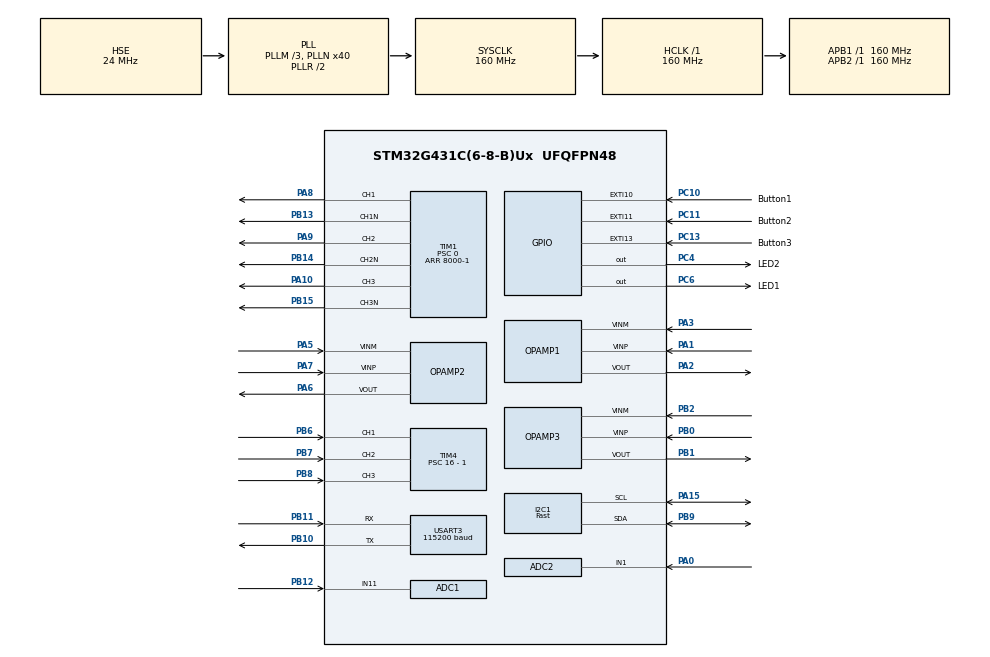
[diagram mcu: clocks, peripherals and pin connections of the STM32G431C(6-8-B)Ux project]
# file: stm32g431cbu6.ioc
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ADC1.Channel-1\#ChannelRegularConversion=ADC_CHANNEL_11
ADC1.ClockPrescaler=ADC_CLOCK_ASYNC_DIV4
ADC1.EnableInjectedConversion=ENABLE
ADC1.ExternalTrigInjecConv=ADC_EXTERNALTRIGINJEC_T1_CC4
ADC1.InjNumberOfConversion=2
ADC1.InjectedChannel-2\#ChannelInjectedConversion=ADC_CHANNEL_3
ADC1.InjectedChannel-3\#ChannelInjectedConversion=ADC_CHANNEL_12
ADC1.InjectedOffsetNumber-2\#ChannelInjectedConversion=ADC_OFFSET_NONE
ADC1.InjectedOffsetNumber-3\#ChannelInjectedConversion=ADC_OFFSET_NONE
ADC1.InjectedRank-2\#ChannelInjectedConversion=1
ADC1.InjectedRank-3\#ChannelInjectedConversion=2
ADC1.InjectedSamplingTime-2\#ChannelInjectedConversion=ADC_SAMPLETIME_6CYCLES_5
ADC1.InjectedSamplingTime-3\#ChannelInjectedConversion=ADC_SAMPLETIME_6CYCLES_5
ADC1.NbrOfConversion=1
ADC1.NbrOfConversionFlag=1
ADC1.OffsetNumber-1\#ChannelRegularConversion=ADC_OFFSET_NONE
ADC1.Rank-1\#ChannelRegularConversion=1
ADC1.SamplingTime-1\#ChannelRegularConversion=ADC_SAMPLETIME_2CYCLES_5
ADC1.master=1
ADC2.Channel-0\#ChannelRegularConversion=ADC_CHANNEL_1
ADC2.ClockPrescaler=ADC_CLOCK_ASYNC_DIV4
ADC2.EnableInjectedConversion=ENABLE
ADC2.ExternalTrigInjecConv=ADC_EXTERNALTRIGINJEC_T1_CC4
ADC2.InjNumberOfConversion=1
ADC2.InjectedChannel-1\#ChannelInjectedConversion=ADC_CHANNEL_3
ADC2.InjectedOffsetNumber-1\#ChannelInjectedConversion=ADC_OFFSET_NONE
ADC2.InjectedRank-1\#ChannelInjectedConversion=1
ADC2.InjectedSamplingTime-1\#ChannelInjectedConversion=ADC_SAMPLETIME_6CYCLES_5
ADC2.NbrOfConversionFlag=1
ADC2.OffsetNumber-0\#ChannelRegularConversion=ADC_OFFSET_NONE
ADC2.Rank-0\#ChannelRegularConversion=1
ADC2.SamplingTime-0\#ChannelRegularConversion=ADC_SAMPLETIME_2CYCLES_5
Dma.Request0=USART3_TX
Dma.USART3_TX.0.Direction=DMA_MEMORY_TO_PERIPH
Dma.USART3_TX.0.EventEnable=DISABLE
Dma.USART3_TX.0.Instance=DMA1_Channel1
Dma.USART3_TX.0.MemDataAlignment=DMA_MDATAALIGN_BYTE
Dma.USART3_TX.0.MemInc=DMA_MINC_ENABLE
Dma.USART3_TX.0.Mode=DMA_NORMAL
Dma.USART3_TX.0.PeriphDataAlignment=DMA_PDATAALIGN_BYTE
Dma.USART3_TX.0.PeriphInc=DMA_PINC_DISABLE
Dma.USART3_TX.0.Polarity=HAL_DMAMUX_REQ_GEN_RISING
Dma.USART3_TX.0.Priority=DMA_PRIORITY_LOW
Dma.USART3_TX.0.RequestNumber=1
Dma.USART3_TX.0.SignalID=NONE
Dma.USART3_TX.0.SyncEnable=DISABLE
Dma.USART3_TX.0.SyncPolarity=HAL_DMAMUX_SYNC_NO_EVENT
Dma.USART3_TX.0.SyncRequestNumber=1
Dma.USART3_TX.0.SyncSignalID=NONE
FREERTOS.Tasks01=defaultTask,24,128,StartDefaultTask,Default,NULL,Dynamic,NULL,NULL
FREERTOS.configENABLE_FPU=1
I2C1.I2C_Speed_Mode=I2C_Fast
I2C1.Timing=0x00F07BFF
Mcu.Family=STM32G4
Mcu.Name=STM32G431C(6-8-B)Ux
Mcu.Package=UFQFPN48
NVIC.ADC1_2_IRQn=true\:5\:0\:false\:false\:true\:true\:true\:true\:true
NVIC.DMA1_Channel1_IRQn=true\:5\:0\:false\:false\:true\:true\:false\:true\:true
NVIC.EXTI15_10_IRQn=true\:3\:0\:true\:false\:true\:true\:true\:true\:true
NVIC.PriorityGroup=NVIC_PRIORITYGROUP_4
NVIC.TIM1_BRK_TIM15_IRQn=true\:1\:0\:true\:false\:true\:true\:true\:true\:true
NVIC.TIM1_UP_TIM16_IRQn=true\:1\:0\:true\:false\:true\:true\:true\:true\:true
NVIC.TIM4_IRQn=true\:1\:0\:true\:false\:true\:true\:true\:true\:true
NVIC.TIM6_DAC_IRQn=true\:5\:0\:false\:false\:true\:true\:true\:true\:true
NVIC.USART3_IRQn=true\:2\:0\:true\:false\:true\:true\:true\:true\:true
PA0.Mode=IN1-Single-Ended
PA0.Signal=ADC2_IN1
PA1.Mode=Standalone
PA1.Signal=OPAMP1_VINP
PA10.Signal=S_TIM1_CH3
PA13.Mode=Serial_Wire
PA13.Signal=SYS_JTMS-SWDIO
PA14.Mode=Serial_Wire
PA14.Signal=SYS_JTCK-SWCLK
PA15.Mode=I2C
PA15.Signal=I2C1_SCL
PA2.Signal=SharedAnalog_PA2
PA3.Mode=Standalone
PA3.Signal=OPAMP1_VINM
PA5.Mode=Standalone
PA5.Signal=OPAMP2_VINM
PA6.Signal=SharedAnalog_PA6
PA7.Mode=Standalone
PA7.Signal=OPAMP2_VINP
PA8.Signal=S_TIM1_CH1
PA9.Signal=S_TIM1_CH2
PB0.Mode=Standalone
PB0.Signal=OPAMP3_VINP
PB1.Signal=SharedAnalog_PB1
PB10.Mode=Asynchronous
PB10.Signal=USART3_TX
PB11.Mode=Asynchronous
PB11.Signal=USART3_RX
PB12.Mode=IN11-Single-Ended
PB12.Signal=ADC1_IN11
PB13.Mode=PWM Generation1 CH1 CH1N
PB13.Signal=TIM1_CH1N
PB14.Mode=PWM Generation2 CH2 CH2N
PB14.Signal=TIM1_CH2N
PB15.Mode=PWM Generation3 CH3 CH3N
PB15.Signal=TIM1_CH3N
PB2.Mode=Standalone
PB2.Signal=OPAMP3_VINM
PB6.Signal=S_TIM4_CH1
PB7.Signal=S_TIM4_CH2
PB8-BOOT0.Signal=S_TIM4_CH3
PB9.Mode=I2C
PB9.Signal=I2C1_SDA
PC10.GPIO_Label=Button1
PC10.Signal=GPXTI10
PC11.GPIO_Label=Button2
PC11.Signal=GPXTI11
PC13.GPIO_Label=Button3
PC13.Signal=GPXTI13
PC4.GPIO_Label=LED2
PC4.Signal=GPIO_Output
PC6.GPIO_Label=LED1
PC6.Signal=GPIO_Output
PF0-OSC_IN.Mode=HSE-External-Oscillator
PF0-OSC_IN.Signal=RCC_OSC_IN
PF1-OSC_OUT.Mode=HSE-External-Oscillator
PF1-OSC_OUT.Signal=RCC_OSC_OUT
ProjectManager.HeapSize=0x200
ProjectManager.StackSize=0x400
ProjectManager.TargetToolchain=MDK-ARM V5.32
RCC.ADC12Freq_Value=160000000
RCC.AHBFreq_Value=160000000
RCC.APB1Freq_Value=160000000
RCC.APB1TimFreq_Value=160000000
RCC.APB2Freq_Value=160000000
RCC.APB2TimFreq_Value=160000000
RCC.CortexFreq_Value=160000000
RCC.EXTERNAL_CLOCK_VALUE=12288000
RCC.HCLKFreq_Value=160000000
RCC.HSE_VALUE=24000000
RCC.HSI48_VALUE=48000000
RCC.HSI_VALUE=16000000
RCC.LSE_VALUE=32768
RCC.PLLM=RCC_PLLM_DIV3
RCC.PLLN=40
RCC.PLLSourceVirtual=RCC_PLLSOURCE_HSE
RCC.SYSCLKFreq_VALUE=160000000
RCC.SYSCLKSource=RCC_SYSCLKSOURCE_PLLCLK
RCC.USBFreq_Value=160000000
RCC.VCOOutputFreq_Value=320000000
SH.S_TIM1_CH1.0=TIM1_CH1,PWM Generation1 CH1 CH1N
SH.S_TIM1_CH2.0=TIM1_CH2,PWM Generation2 CH2 CH2N
SH.S_TIM1_CH3.0=TIM1_CH3,PWM Generation3 CH3 CH3N
SH.S_TIM4_CH1.0=TIM4_CH1,Xored_Inputs_Hall_Sensor_Interface
SH.S_TIM4_CH2.0=TIM4_CH2,Xored_Inputs_Hall_Sensor_Interface
SH.S_TIM4_CH3.0=TIM4_CH3,Xored_Inputs_Hall_Sensor_Interface
SH.SharedAnalog_PA2.0=OPAMP1_VOUT,Standalone
SH.SharedAnalog_PA2.1=ADC1_IN3,IN3-Single-Ended
SH.SharedAnalog_PA6.0=OPAMP2_VOUT,Standalone
SH.SharedAnalog_PA6.1=ADC2_IN3,IN3-Single-Ended
SH.SharedAnalog_PB1.0=COMP1_INP
SH.SharedAnalog_PB1.1=OPAMP3_VOUT,Standalone
SH.SharedAnalog_PB1.2=ADC1_IN12,IN12-Single-Ended
STMicroelectronics.X-CUBE-ALGOBUILD.1.3.0.LibraryCcDSPOoLibraryJjDSPOoLibrary=true
TIM1.BreakFilter=2
TIM1.BreakState=TIM_BREAK_ENABLE
TIM1.Channel-PWM\ Generation1\ CH1\ CH1N=TIM_CHANNEL_1
TIM1.Channel-PWM\ Generation2\ CH2\ CH2N=TIM_CHANNEL_2
TIM1.Channel-PWM\ Generation3\ CH3\ CH3N=TIM_CHANNEL_3
TIM1.Channel-PWM\ Generation4\ No\ Output=TIM_CHANNEL_4
TIM1.ClockDivision=TIM_CLOCKDIVISION_DIV2
TIM1.CounterMode=TIM_COUNTERMODE_CENTERALIGNED1
TIM1.DeadTime=120
TIM1.DeadTimePreload=ENABLE
TIM1.OCMode_PWM-PWM\ Generation4\ No\ Output=TIM_OCMODE_PWM2
TIM1.PeriodNoDither=8000-1
TIM1.Prescaler=0
TIM1.PulseNoDither_4=8000-2
TIM1.RepetitionCounter=1
TIM1.SourceBRKCOMP1=TIM_BREAKINPUTSOURCE_DISABLE
TIM1.TIM_MasterOutputTrigger=TIM_TRGO_OC4REF
TIM4.Commutation_Delay=5
TIM4.IC1Filter=5
TIM4.Prescaler=16 - 1
TIM6.AutoReloadPreload=TIM_AUTORELOAD_PRELOAD_ENABLE
TIM6.PeriodNoDither=200
TIM6.Prescaler=160
USART3.BaudRate=115200
USART3.VirtualMode-Asynchronous=VM_ASYNC
VP_FREERTOS_VS_CMSIS_V2.Mode=CMSIS_V2
VP_STMicroelectronics.X-CUBE-ALGOBUILD_VS_DSPOoLibraryJjLibrary_1.3.0_1.3.0.Mode=DSPOoLibraryJjLibrary
VP_SYS_VS_DBSignals.Mode=DisableDeadBatterySignals
VP_TIM1_VS_ClockSourceINT.Mode=Internal
VP_TIM1_VS_no_output4.Mode=PWM Generation4 No Output
VP_TIM6_VS_ClockSourceINT.Mode=Enable_Timer
board=custom

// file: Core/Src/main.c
/* USER CODE BEGIN Header */
/**
 ******************************************************************************
 * @file           : main.c
 * @brief          : Main program body
 ******************************************************************************
 * @attention
 *
 * Copyright (c) 2023 STMicroelectronics.
 * All rights reserved.
 *
 * This software is licensed under terms that can be found in the LICENSE file
 * in the root directory of this software component.
 * If no LICENSE file comes with this software, it is provided AS-IS.
 *
 ******************************************************************************
 */
/* USER CODE END Header */
#include "main.h"
#include "cmsis_os.h"
#include "adc.h"
#include "dma.h"
#include "i2c.h"
#include "opamp.h"
#include "tim.h"
#include "usart.h"
#include "gpio.h"

/* USER CODE BEGIN Includes */
#include <stdio.h>
#include <string.h>
#include "foc.h"
#include "bldcMotor.h"
#include "userMain.h"
/* USER CODE END Includes */

/* USER CODE BEGIN PTD */

#define PHASE_SHIFT_ANGLE (float)(220.0f / 360.0f * 2.0f * _PI)
/* USER CODE END PTD */

/* USER CODE BEGIN PD */
extern DMA_HandleTypeDef hdma_usart3_tx;

uint8_t Uart1_Rx_Cnt = 0;
float Vbus, Ia, Ib, Ic;
uint16_t IA_Offset, IB_Offset, IC_Offset;
uint16_t adc1_in1, adc1_in2, adc1_in3, Vpoten, adc_vbus;
uint8_t ADC_offset = 0;
float alpha = 0.3;

/* USER CODE END PD */

void SystemClock_Config(void);
void MX_FREERTOS_Init(void);

int main(void)
{

  /* MCU Configuration--------------------------------------------------------*/

  /* Reset of all peripherals, Initializes the Flash interface and the Systick. */
  HAL_Init();

  /* Configure the system clock */
  SystemClock_Config();

  /* Initialize all configured peripherals */
  MX_GPIO_Init();
  MX_DMA_Init();
  MX_USART3_UART_Init();
  MX_ADC1_Init();
  MX_ADC2_Init();
  MX_OPAMP1_Init();
  MX_OPAMP2_Init();
  MX_OPAMP3_Init();
  MX_TIM1_Init();
  MX_TIM4_Init();
  MX_I2C1_Init();
  MX_TIM6_Init();
  /* USER CODE BEGIN 2 */
  HAL_OPAMP_Start(&hopamp1);
  HAL_OPAMP_Start(&hopamp2);
  HAL_OPAMP_Start(&hopamp3);
  // HAL_UART_Receive_IT(&huart3, rxBuffer, RX_CMD_LEN);
  HAL_UART_Receive_IT(&huart3, (uint8_t *)&aRxBuffer, 1);
  HAL_ADCEx_Calibration_Start(&hadc1, ADC_SINGLE_ENDED);
  HAL_ADCEx_Calibration_Start(&hadc2, ADC_SINGLE_ENDED);
  __HAL_ADC_CLEAR_FLAG(&hadc1, ADC_FLAG_JEOC);
  __HAL_ADC_CLEAR_FLAG(&hadc1, ADC_FLAG_EOC);
  __HAL_ADC_CLEAR_FLAG(&hadc2, ADC_FLAG_JEOC);
  // HAL_ADCEx_InjectedStart_IT(&hadc1);
  // HAL_ADCEx_InjectedStart(&hadc2);
  HAL_TIM_Base_Start(&htim1);
  HAL_TIM_PWM_Start(&htim1, TIM_CHANNEL_4);
  HAL_TIM_PWM_Start(&htim1, TIM_CHANNEL_1);
  HAL_TIM_PWM_Start(&htim1, TIM_CHANNEL_2);
  HAL_TIM_PWM_Start(&htim1, TIM_CHANNEL_3);
  HAL_TIMEx_PWMN_Start(&htim1, TIM_CHANNEL_1);
  HAL_TIMEx_PWMN_Start(&htim1, TIM_CHANNEL_2);
  HAL_TIMEx_PWMN_Start(&htim1, TIM_CHANNEL_3);

  /* USER CODE END 2 */

  /* Init scheduler */
  osKernelInitialize();  /* Call init function for freertos objects (in freertos.c) */
  MX_FREERTOS_Init();

  /* Start scheduler */
  osKernelStart();

  /* We should never get here as control is now taken by the scheduler */
  /* Infinite loop */
  while (1)
  {

  }
}

void SystemClock_Config(void)
{
  RCC_OscInitTypeDef RCC_OscInitStruct = {0};
  RCC_ClkInitTypeDef RCC_ClkInitStruct = {0};

  /** Configure the main internal regulator output voltage
  */
  HAL_PWREx_ControlVoltageScaling(PWR_REGULATOR_VOLTAGE_SCALE1_BOOST);

  /** Initializes the RCC Oscillators according to the specified parameters
  * in the RCC_OscInitTypeDef structure.
  */
  RCC_OscInitStruct.OscillatorType = RCC_OSCILLATORTYPE_HSE;
  RCC_OscInitStruct.HSEState = RCC_HSE_ON;
  RCC_OscInitStruct.PLL.PLLState = RCC_PLL_ON;
  RCC_OscInitStruct.PLL.PLLSource = RCC_PLLSOURCE_HSE;
  RCC_OscInitStruct.PLL.PLLM = RCC_PLLM_DIV3;
  RCC_OscInitStruct.PLL.PLLN = 40;
  RCC_OscInitStruct.PLL.PLLP = RCC_PLLP_DIV2;
  RCC_OscInitStruct.PLL.PLLQ = RCC_PLLQ_DIV2;
  RCC_OscInitStruct.PLL.PLLR = RCC_PLLR_DIV2;
  if (HAL_RCC_OscConfig(&RCC_OscInitStruct) != HAL_OK)
  {
    Error_Handler();
  }

  /** Initializes the CPU, AHB and APB buses clocks
  */
  RCC_ClkInitStruct.ClockType = RCC_CLOCKTYPE_HCLK|RCC_CLOCKTYPE_SYSCLK
                              |RCC_CLOCKTYPE_PCLK1|RCC_CLOCKTYPE_PCLK2;
  RCC_ClkInitStruct.SYSCLKSource = RCC_SYSCLKSOURCE_PLLCLK;
  RCC_ClkInitStruct.AHBCLKDivider = RCC_SYSCLK_DIV1;
  RCC_ClkInitStruct.APB1CLKDivider = RCC_HCLK_DIV1;
  RCC_ClkInitStruct.APB2CLKDivider = RCC_HCLK_DIV1;

  if (HAL_RCC_ClockConfig(&RCC_ClkInitStruct, FLASH_LATENCY_4) != HAL_OK)
  {
    Error_Handler();
  }
}

/* USER CODE BEGIN 4 */
/******************************************************************************/

/******************************************************************************/

void HAL_GPIO_EXTI_Callback(uint16_t GPIO_Pin)
{
  /* Prevent unused argument(s) compilation warning */
  UNUSED(GPIO_Pin);
  if (Button2_Pin == GPIO_Pin)
  {
    HAL_TIM_PWM_Start(&htim1, TIM_CHANNEL_1);
    HAL_TIM_PWM_Start(&htim1, TIM_CHANNEL_2);
    HAL_TIM_PWM_Start(&htim1, TIM_CHANNEL_3);
    HAL_TIMEx_PWMN_Start(&htim1, TIM_CHANNEL_1);
    HAL_TIMEx_PWMN_Start(&htim1, TIM_CHANNEL_2);
    HAL_TIMEx_PWMN_Start(&htim1, TIM_CHANNEL_3);
  }
  if (Button3_Pin == GPIO_Pin)
  {
    HAL_TIM_PWM_Stop(&htim1, TIM_CHANNEL_1);
    HAL_TIM_PWM_Stop(&htim1, TIM_CHANNEL_2);
    HAL_TIM_PWM_Stop(&htim1, TIM_CHANNEL_3);
    HAL_TIMEx_PWMN_Stop(&htim1, TIM_CHANNEL_1);
    HAL_TIMEx_PWMN_Stop(&htim1, TIM_CHANNEL_2);
    HAL_TIMEx_PWMN_Stop(&htim1, TIM_CHANNEL_3);
  }
  /* NOTE: This function should not be modified, when the callback is needed,
           the HAL_GPIO_EXTI_Callback could be implemented in the user file
   */
}
// MotorMode motorMode;
void HAL_ADCEx_InjectedConvCpltCallback(ADC_HandleTypeDef *hadc) // 10kHz ADC
{
  static uint8_t cnt;
  static uint16_t obsever_cnt;
  /* Prevent unused argument(s) compilation warning */
  UNUSED(hadc);
  if (hadc == &hadc1)
  {
    if (ADC_offset == 0)
    {
      cnt++;
      adc1_in1 = hadc1.Instance->JDR1;
      adc1_in2 = hadc2.Instance->JDR1;
      adc1_in3 = hadc1.Instance->JDR2;
      IA_Offset += adc1_in1;
      IB_Offset += adc1_in2;
      IC_Offset += adc1_in3;
      if (cnt >= 10)
      {
        ADC_offset = 1;
        IA_Offset = IA_Offset / 10;
        IB_Offset = IB_Offset / 10;
        IC_Offset = IC_Offset / 10;
      }
      // motorMode = OPEN_LOOP;
    }
    else
    {
      adc1_in1 = hadc1.Instance->JDR1;
      adc1_in3 = hadc1.Instance->JDR2;
      adc1_in2 = hadc2.Instance->JDR1;
      Ia = (adc1_in1 - IA_Offset) * 0.02197f;
      Ib = (adc1_in2 - IB_Offset) * 0.02197f;
      Ic = (adc1_in3 - IC_Offset) * 0.02197f; // 0.02197265625

      // openSpeedLoop(3, 60);
      // closeAngleLoop(target);

#if SHOW_RCC_DATA
      temp[0] = Ia;
      temp[1] = Ib;
      memcpy(tempData, (uint8_t *)&temp, sizeof(temp));
      HAL_UART_Transmit_DMA(&huart3, (uint8_t *)tempData, 6 * 4);
#endif
    }
  }
}
// void HAL_UART_RxCpltCallback(UART_HandleTypeDef *huart)
// {
//   /* Prevent unused argument(s) compilation warning */
//   UNUSED(huart);
//   if (Uart1_Rx_Cnt >= USART_BUFFER_SIZE - 1)
//   {
//     Uart1_Rx_Cnt = 0;
//     memset(rxBuffer, 0x00, sizeof(rxBuffer));
//     HAL_UART_Transmit(&huart3, (uint8_t *)"too long\n", 10, 0xFFFF);
//   }
//   else
//   {
//     rxBuffer[Uart1_Rx_Cnt++] = aRxBuffer;
//     if (aRxBuffer == '\n')
//     {
//       Uart1_Rx_Cnt = 0;
//       setUartRecvDone();
//     }
//     //		Uart1_Rx_Cnt = 0;
//     //		memset(rxBuffer,0x00,sizeof(rxBuffer));
//   }
//   HAL_UART_Receive_IT(&huart3, (uint8_t *)&aRxBuffer, 1);
//   /* NOTE: This function should not be modified, when the callback is needed,
//            the HAL_UART_TxHalfCpltCallback can be implemented in the user file.
//    */
// }

int fputc(int ch, FILE *f)
{
  while ((USART3->ISR & 0X40) == 0)
    ;
  USART3->TDR = (uint8_t)ch;
  return ch;
}
float t;
/* USER CODE END 4 */

void Error_Handler(void)
{
  __disable_irq();
  while (1)
  {
  }
}

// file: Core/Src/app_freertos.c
/* USER CODE BEGIN Header */
/**
 ******************************************************************************
 * File Name          : app_freertos.c
 * Description        : Code for freertos applications
 ******************************************************************************
 * @attention
 *
 * Copyright (c) 2024 STMicroelectronics.
 * All rights reserved.
 *
 * This software is licensed under terms that can be found in the LICENSE file
 * in the root directory of this software component.
 * If no LICENSE file comes with this software, it is provided AS-IS.
 *
 ******************************************************************************
 */
/* USER CODE END Header */

#include "FreeRTOS.h"
#include "task.h"
#include "main.h"
#include "cmsis_os.h"

/* USER CODE BEGIN Includes */
#include "userMain.h"
/* USER CODE END Includes */

/* USER CODE BEGIN PTD */
// osThreadId_t ctrlLoopTaskHandle;
/* USER CODE END PTD */

/* Definitions for defaultTask */
osThreadId_t defaultTaskHandle;
const osThreadAttr_t defaultTask_attributes = {
    .name = "defaultTask",
    .priority = (osPriority_t)osPriorityNormal,
    .stack_size = 128 * 4};

// void ThreadCtrlLoop(void *argument)
// {
//   motorInit();

//   printf("Motor ready.\r\n");

//   for (;;)
//   {
//     // Suspended here until got Notification.
//     ulTaskNotifyTake(pdTRUE, portMAX_DELAY);
//     move(target);
//     loopFOC();
//     commander_run();
//   }
// }

void StartDefaultTask(void *argument);

void MX_FREERTOS_Init(void); /* (MISRA C 2004 rule 8.1) */

void MX_FREERTOS_Init(void)
{

  /* Create the thread(s) */
  /* creation of defaultTask */
  defaultTaskHandle = osThreadNew(StartDefaultTask, NULL, &defaultTask_attributes);

  /* USER CODE BEGIN RTOS_THREADS */
  // const osThreadAttr_t controlLoopTask_attributes = {
  //     .name = "ControlLoopTask",
  //     .priority = (osPriority_t)osPriorityNormal,
  //     .stack_size = 128 * 4};

  // ctrlLoopTaskHandle = osThreadNew(ThreadCtrlLoop, NULL, &controlLoopTask_attributes);
  // HAL_TIM_Base_Start_IT(&htim6);
  /* USER CODE END RTOS_THREADS */

}

void StartDefaultTask(void *argument)
{
  /* USER CODE BEGIN StartDefaultTask */
  userMain();
  vTaskDelete(defaultTaskHandle);
  /* USER CODE END StartDefaultTask */
}
